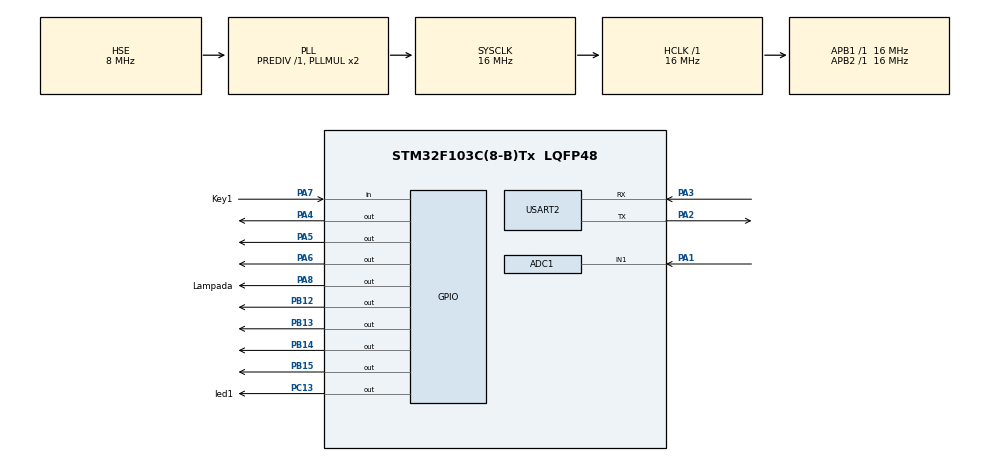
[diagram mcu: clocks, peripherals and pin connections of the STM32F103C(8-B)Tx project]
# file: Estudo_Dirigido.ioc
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ADC1.Channel-8\#ChannelRegularConversion=ADC_CHANNEL_1
ADC1.NbrOfConversionFlag=1
ADC1.Rank-8\#ChannelRegularConversion=1
ADC1.SamplingTime-8\#ChannelRegularConversion=ADC_SAMPLETIME_1CYCLE_5
ADC1.master=1
Mcu.Family=STM32F1
Mcu.Name=STM32F103C(8-B)Tx
Mcu.Package=LQFP48
NVIC.ADC1_2_IRQn=true\:0\:0\:false\:false\:true\:true\:true\:true
NVIC.PriorityGroup=NVIC_PRIORITYGROUP_4
NVIC.USART2_IRQn=true\:0\:0\:false\:false\:true\:true\:true\:true
PA1.Signal=ADCx_IN1
PA13.Mode=Serial_Wire
PA13.Signal=SYS_JTMS-SWDIO
PA14.Mode=Serial_Wire
PA14.Signal=SYS_JTCK-SWCLK
PA2.Mode=Asynchronous
PA2.Signal=USART2_TX
PA3.Mode=Asynchronous
PA3.Signal=USART2_RX
PA4.Signal=GPIO_Output
PA5.Signal=GPIO_Output
PA6.Signal=GPIO_Output
PA7.GPIO_Label=Key1
PA7.GPIO_PuPd=GPIO_PULLUP
PA7.Signal=GPIO_Input
PA8.GPIO_Label=Lampada
PA8.Signal=GPIO_Output
PB12.Signal=GPIO_Output
PB13.Signal=GPIO_Output
PB14.Signal=GPIO_Output
PB15.Signal=GPIO_Output
PC13-TAMPER-RTC.GPIO_Label=led1
PC13-TAMPER-RTC.Signal=GPIO_Output
PD0-OSC_IN.Mode=HSE-External-Oscillator
PD0-OSC_IN.Signal=RCC_OSC_IN
PD1-OSC_OUT.Mode=HSE-External-Oscillator
PD1-OSC_OUT.Signal=RCC_OSC_OUT
ProjectManager.HeapSize=0x200
ProjectManager.StackSize=0x400
ProjectManager.TargetToolchain=STM32CubeIDE
RCC.AHBFreq_Value=16000000
RCC.APB1Freq_Value=16000000
RCC.APB1TimFreq_Value=16000000
RCC.APB2Freq_Value=16000000
RCC.APB2TimFreq_Value=16000000
RCC.HCLKFreq_Value=16000000
RCC.PLLSourceVirtual=RCC_PLLSOURCE_HSE
RCC.SYSCLKFreq_VALUE=16000000
RCC.SYSCLKSource=RCC_SYSCLKSOURCE_PLLCLK
RCC.USBFreq_Value=16000000
SH.ADCx_IN1.0=ADC1_IN1,IN1
USART2.VirtualMode=VM_ASYNC
board=custom

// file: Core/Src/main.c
/* USER CODE BEGIN Header */
/**
  ******************************************************************************
  * @file           : main.c
  * @brief          : Main program body
  ******************************************************************************
  * @attention
  *
  * Copyright (c) 2025 STMicroelectronics.
  * All rights reserved.
  *
  * This software is licensed under terms that can be found in the LICENSE file
  * in the root directory of this software component.
  * If no LICENSE file comes with this software, it is provided AS-IS.
  *
  ******************************************************************************
  */
/* USER CODE END Header */
#include "main.h"

/* USER CODE BEGIN Includes */
#include "lcd.h"
#include "stdlib.h"
/* USER CODE END Includes */

ADC_HandleTypeDef hadc1;

UART_HandleTypeDef huart2;

void SystemClock_Config(void);
static void MX_GPIO_Init(void);
static void MX_USART2_UART_Init(void);
static void MX_ADC1_Init(void);

/* USER CODE BEGIN 0 */
uint8_t rx_char_in;
float temp_minmax[2] = {30,36};
volatile char configs [4] = "3036";

void HAL_UART_RxCpltCallback(UART_HandleTypeDef *huart){
	// reinicia a uart
	volatile static uint8_t config_cont = 0;
	HAL_UART_Receive_IT(&huart2, &rx_char_in, 1);
	// Echo
	if (rx_char_in == 'M'){
		config_cont =1;
	}
	else{
		//HAL_UART_Transmit_IT(&huart2, &rx_char_in, 1);
	}
	if (config_cont>=1){
		configs[config_cont-1] = rx_char_in;
		config_cont = config_cont%4;
		config_cont = config_cont+1;
	}
// Led
	HAL_GPIO_TogglePin(led1_GPIO_Port, led1_Pin);
}

uint8_t controlador (float temp,float thresholds[2]){
	static uint8_t control_status = 0;
	if (temp<thresholds[0]){
		HAL_GPIO_WritePin(Lampada_GPIO_Port, Lampada_Pin, 1);
		control_status=1;
	} else if(temp>thresholds[1]){
		HAL_GPIO_WritePin(Lampada_GPIO_Port, Lampada_Pin, 0);
		control_status=0;
	}
	return control_status;
}
/* USER CODE END 0 */

int main(void)
{

  /* MCU Configuration--------------------------------------------------------*/

  /* Reset of all peripherals, Initializes the Flash interface and the Systick. */
  HAL_Init();

  /* Configure the system clock */
  SystemClock_Config();

  /* Initialize all configured peripherals */
  MX_GPIO_Init();
  MX_USART2_UART_Init();
  MX_ADC1_Init();
  /* USER CODE BEGIN 2 */
  HAL_UART_Receive_IT(&huart2, &rx_char_in, 1); //Inicilaização da interrupção do UART

  /* Variáveis de contagem de tempo */
  uint32_t inicio = 0;
  uint32_t fim = 0;
  uint32_t tempo = 0;

  /* Inicialização do display LCD */
  Lcd_PortType ports[] = {GPIOB, GPIOB, GPIOB, GPIOB};
  Lcd_PinType pins[] = {GPIO_PIN_12, GPIO_PIN_13, GPIO_PIN_14, GPIO_PIN_15};
  Lcd_HandleTypeDef lcd;
  lcd = Lcd_create(ports, pins, GPIOA, GPIO_PIN_4, GPIOA, GPIO_PIN_6, LCD_4_BIT_MODE);

  /* Inicialização do ADC e de suas variáveis de conversão */
  HAL_ADCEx_Calibration_Start(&hadc1);
  float Vref = 3.3;
  uint16_t AD_ref = 4096 - 1;
  float temperatura;

  /* USER CODE END 2 */

  /* Infinite loop */
  /* USER CODE BEGIN WHILE */
  /* Inicialização da média movel */
  const uint32_t n_medias = 100; //Quantidade de valores
  float mov[n_medias];
  memset(mov,0,sizeof(float)*n_medias);

  float media = 0;
  uint32_t contador = 0;

  uint8_t retorno_controlador = 0; //Retorno do status do controlador
  while (1)
  {
	inicio = HAL_GetTick();

	//Leitura ADC
	HAL_ADC_Start(&hadc1);
	HAL_ADC_PollForConversion(&hadc1, HAL_MAX_DELAY);
	uint16_t val_adc = HAL_ADC_GetValue(&hadc1);
	temperatura = val_adc*Vref/AD_ref;
	temperatura = 100*temperatura;

	//Media movel
	mov[contador % n_medias] = temperatura;
	contador++;

	// Comandos possíveis para lâmpada

	if(rx_char_in == 'C'){
		retorno_controlador = controlador(media, temp_minmax);
	} else if(rx_char_in == 'L'){
		HAL_GPIO_WritePin(Lampada_GPIO_Port, Lampada_Pin, 1);
		retorno_controlador = 1;
	} else if(rx_char_in == 'D'){
		HAL_GPIO_WritePin(Lampada_GPIO_Port, Lampada_Pin, 0);
		retorno_controlador = 0;
	}
	//Codigo executado a cada 500ms
	if (tempo >= 500){

		for(uint8_t i =0;i<2;i++){
			temp_minmax[i] = ( atof(configs[2*i]*10) + atof(configs[2*i+1]));
		}
		//Calculo da media do vetor movel
		media = 0;
		for(uint32_t i =0;i<n_medias;i++){
			media += mov[i];
		}
		media = media/n_medias;

		if(rx_char_in == 'C'){
			Lcd_cursor(&lcd, 0, 0);
			Lcd_string(&lcd, "Controlando temp");
		}else if (rx_char_in == 'L'){
			Lcd_cursor(&lcd, 0, 0);
			Lcd_string(&lcd, "Lampada ON      ");
		} else if (rx_char_in == 'D'){
			Lcd_cursor(&lcd, 0, 0);
			Lcd_string(&lcd, "Lampada OFF     ");
		}

		//Envio das informações pelo putty
		char putty[15];
		memset(putty,0,sizeof(putty));
		if(retorno_controlador == 1){
			sprintf(putty, "A%.2fI%.0fF%.0fCS",media,temp_minmax[0],temp_minmax[1]);
		} else{
			sprintf(putty, "A%.2fI%.0fF%.0fCR",media,temp_minmax[0],temp_minmax[1]);
		}
		HAL_UART_Transmit_IT(&huart2, putty, sizeof(putty));

		char str[20];
		sprintf(str, "Temp: %.2f C     ",media);
		Lcd_cursor(&lcd, 1, 0);
		Lcd_string(&lcd, str);
		tempo = 0;
	}
	fim = HAL_GetTick();
	tempo += fim - inicio;
    /* USER CODE END WHILE */

  }
}

void SystemClock_Config(void)
{
  RCC_OscInitTypeDef RCC_OscInitStruct = {0};
  RCC_ClkInitTypeDef RCC_ClkInitStruct = {0};
  RCC_PeriphCLKInitTypeDef PeriphClkInit = {0};

  /** Initializes the RCC Oscillators according to the specified parameters
  * in the RCC_OscInitTypeDef structure.
  */
  RCC_OscInitStruct.OscillatorType = RCC_OSCILLATORTYPE_HSE;
  RCC_OscInitStruct.HSEState = RCC_HSE_ON;
  RCC_OscInitStruct.HSEPredivValue = RCC_HSE_PREDIV_DIV1;
  RCC_OscInitStruct.HSIState = RCC_HSI_ON;
  RCC_OscInitStruct.PLL.PLLState = RCC_PLL_ON;
  RCC_OscInitStruct.PLL.PLLSource = RCC_PLLSOURCE_HSE;
  RCC_OscInitStruct.PLL.PLLMUL = RCC_PLL_MUL2;
  if (HAL_RCC_OscConfig(&RCC_OscInitStruct) != HAL_OK)
  {
    Error_Handler();
  }

  /** Initializes the CPU, AHB and APB buses clocks
  */
  RCC_ClkInitStruct.ClockType = RCC_CLOCKTYPE_HCLK|RCC_CLOCKTYPE_SYSCLK
                              |RCC_CLOCKTYPE_PCLK1|RCC_CLOCKTYPE_PCLK2;
  RCC_ClkInitStruct.SYSCLKSource = RCC_SYSCLKSOURCE_PLLCLK;
  RCC_ClkInitStruct.AHBCLKDivider = RCC_SYSCLK_DIV1;
  RCC_ClkInitStruct.APB1CLKDivider = RCC_HCLK_DIV1;
  RCC_ClkInitStruct.APB2CLKDivider = RCC_HCLK_DIV1;

  if (HAL_RCC_ClockConfig(&RCC_ClkInitStruct, FLASH_LATENCY_0) != HAL_OK)
  {
    Error_Handler();
  }
  PeriphClkInit.PeriphClockSelection = RCC_PERIPHCLK_ADC;
  PeriphClkInit.AdcClockSelection = RCC_ADCPCLK2_DIV2;
  if (HAL_RCCEx_PeriphCLKConfig(&PeriphClkInit) != HAL_OK)
  {
    Error_Handler();
  }
}

static void MX_ADC1_Init(void)
{

  ADC_ChannelConfTypeDef sConfig = {0};

  /** Common config
  */
  hadc1.Instance = ADC1;
  hadc1.Init.ScanConvMode = ADC_SCAN_DISABLE;
  hadc1.Init.ContinuousConvMode = DISABLE;
  hadc1.Init.DiscontinuousConvMode = DISABLE;
  hadc1.Init.ExternalTrigConv = ADC_SOFTWARE_START;
  hadc1.Init.DataAlign = ADC_DATAALIGN_RIGHT;
  hadc1.Init.NbrOfConversion = 1;
  if (HAL_ADC_Init(&hadc1) != HAL_OK)
  {
    Error_Handler();
  }

  /** Configure Regular Channel
  */
  sConfig.Channel = ADC_CHANNEL_1;
  sConfig.Rank = ADC_REGULAR_RANK_1;
  sConfig.SamplingTime = ADC_SAMPLETIME_1CYCLE_5;
  if (HAL_ADC_ConfigChannel(&hadc1, &sConfig) != HAL_OK)
  {
    Error_Handler();
  }

}

static void MX_USART2_UART_Init(void)
{

  huart2.Instance = USART2;
  huart2.Init.BaudRate = 115200;
  huart2.Init.WordLength = UART_WORDLENGTH_8B;
  huart2.Init.StopBits = UART_STOPBITS_1;
  huart2.Init.Parity = UART_PARITY_NONE;
  huart2.Init.Mode = UART_MODE_TX_RX;
  huart2.Init.HwFlowCtl = UART_HWCONTROL_NONE;
  huart2.Init.OverSampling = UART_OVERSAMPLING_16;
  if (HAL_UART_Init(&huart2) != HAL_OK)
  {
    Error_Handler();
  }

}

static void MX_GPIO_Init(void)
{
  GPIO_InitTypeDef GPIO_InitStruct = {0};

  /* GPIO Ports Clock Enable */
  __HAL_RCC_GPIOC_CLK_ENABLE();
  __HAL_RCC_GPIOD_CLK_ENABLE();
  __HAL_RCC_GPIOA_CLK_ENABLE();
  __HAL_RCC_GPIOB_CLK_ENABLE();

  /*Configure GPIO pin Output Level */
  HAL_GPIO_WritePin(led1_GPIO_Port, led1_Pin, GPIO_PIN_RESET);

  /*Configure GPIO pin Output Level */
  HAL_GPIO_WritePin(GPIOA, GPIO_PIN_4|GPIO_PIN_5|GPIO_PIN_6|Lampada_Pin, GPIO_PIN_RESET);

  /*Configure GPIO pin Output Level */
  HAL_GPIO_WritePin(GPIOB, GPIO_PIN_12|GPIO_PIN_13|GPIO_PIN_14|GPIO_PIN_15, GPIO_PIN_RESET);

  /*Configure GPIO pin : led1_Pin */
  GPIO_InitStruct.Pin = led1_Pin;
  GPIO_InitStruct.Mode = GPIO_MODE_OUTPUT_PP;
  GPIO_InitStruct.Pull = GPIO_NOPULL;
  GPIO_InitStruct.Speed = GPIO_SPEED_FREQ_LOW;
  HAL_GPIO_Init(led1_GPIO_Port, &GPIO_InitStruct);

  /*Configure GPIO pins : PA4 PA5 PA6 Lampada_Pin */
  GPIO_InitStruct.Pin = GPIO_PIN_4|GPIO_PIN_5|GPIO_PIN_6|Lampada_Pin;
  GPIO_InitStruct.Mode = GPIO_MODE_OUTPUT_PP;
  GPIO_InitStruct.Pull = GPIO_NOPULL;
  GPIO_InitStruct.Speed = GPIO_SPEED_FREQ_LOW;
  HAL_GPIO_Init(GPIOA, &GPIO_InitStruct);

  /*Configure GPIO pin : Key1_Pin */
  GPIO_InitStruct.Pin = Key1_Pin;
  GPIO_InitStruct.Mode = GPIO_MODE_INPUT;
  GPIO_InitStruct.Pull = GPIO_PULLUP;
  HAL_GPIO_Init(Key1_GPIO_Port, &GPIO_InitStruct);

  /*Configure GPIO pins : PB12 PB13 PB14 PB15 */
  GPIO_InitStruct.Pin = GPIO_PIN_12|GPIO_PIN_13|GPIO_PIN_14|GPIO_PIN_15;
  GPIO_InitStruct.Mode = GPIO_MODE_OUTPUT_PP;
  GPIO_InitStruct.Pull = GPIO_NOPULL;
  GPIO_InitStruct.Speed = GPIO_SPEED_FREQ_LOW;
  HAL_GPIO_Init(GPIOB, &GPIO_InitStruct);

}

void Error_Handler(void)
{
  __disable_irq();
  while (1)
  {
  }
}
